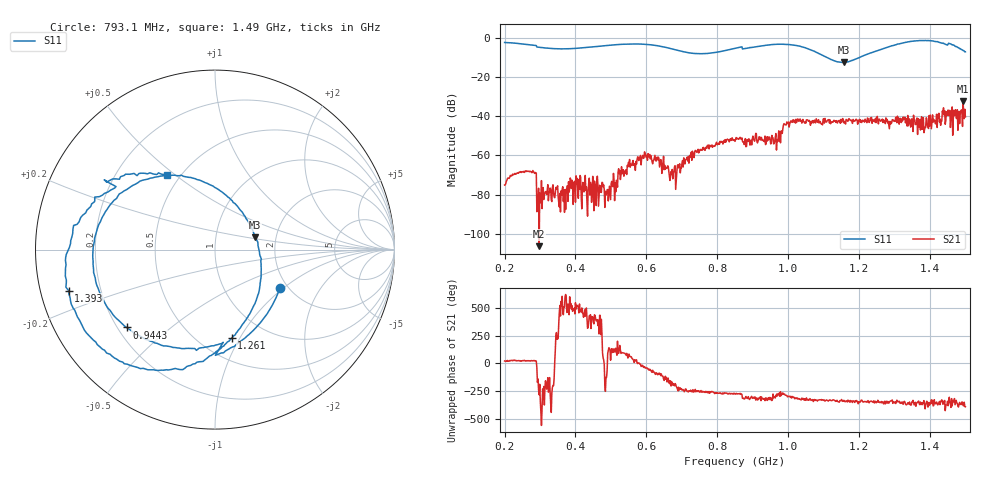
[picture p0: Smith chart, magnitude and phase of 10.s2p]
! NanoVNA-App
! Date: 2024-06-25 16:53:03
! Start: 200MHz Stop: 1.5GHz Points: 801
! S-Parameter data: F S11 S21 S12 S22
# Hz S RI R 50
!  Frequency  S11_Real  S11_Imag  S21_Real  S21_Imag  S12_Real  S12_Imag  S22_Real  S22_Imag
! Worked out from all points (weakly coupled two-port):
!   801 points, 200 MHz to 1.5 GHz, reference 50 ohm
!   highest |S21| = -32.45 dB at 1.494 GHz (marker M1); lowest = -106.4 dB at 297.5 MHz (marker M2)
!   lowest |S11| = -12.6 dB at 1.157 GHz (marker M3), VSWR 1.61, Z = 78 + j11.3 ohm
!   |S11| at or under -10 dB: 1.109 GHz to 1.202 GHz (92.3 MHz wide, 7.99 % of centre)
!   S12 and S22 are empty: the file has one direction only
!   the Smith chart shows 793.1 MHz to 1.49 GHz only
!   S11 on the Smith chart (normalised r, x): 793.1 MHz: 1.81, -0.95; 944.2 MHz: 0.24, -0.36; 1.261 GHz: 0.70, -0.92; 1.393 GHz: 0.08, -0.14; 1.49 GHz: 0.42, +0.47
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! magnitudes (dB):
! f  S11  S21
! 200 MHz  -2.4  -75.2
! 276.4 MHz  -3.7  -68.8
! 297.5 MHz  -4.8  -106.4
! 417.8 MHz  -5.1  -87.3
! 492.5 MHz  -3.9  -83.3
! 555.9 MHz  -3.2  -64.4
! 633.9 MHz  -4.1  -60.9
! 677.8 MHz  -5.9  -68.3
! 736.2 MHz  -8.0  -58.3
! 793.1 MHz  -7.5  -55.4
! 850 MHz  -5.4  -52.8
! 944.2 MHz  -3.7  -52.2
! 973.5 MHz  -3.3  -47.5
! 994.6 MHz  -3.3  -44.4
! 1.068 GHz  -6.4  -42.4
! 1.157 GHz  -12.6  -43.4
! 1.261 GHz  -6.0  -42.6
! 1.284 GHz  -4.6  -44.4
! 1.393 GHz  -1.4  -44.8
! 1.49 GHz  -6.1  -37.9
! 1.494 GHz  -6.5  -32.4
! 1.5 GHz  -7.1  -40.4
